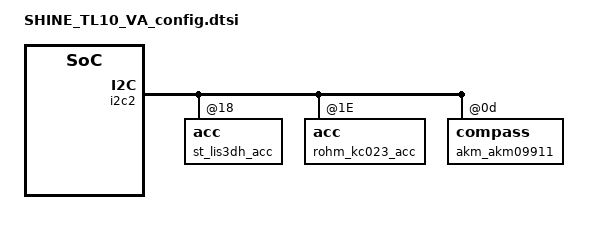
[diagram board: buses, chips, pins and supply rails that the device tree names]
/*
 *  Copyright (C) 2014 Hisilicon Ltd.
 *  Author: Bintian Wang <bintian.wang@huawei.com>
 *
 *  This program is free software; you can redistribute it and/or modify
 *  it under the terms of the GNU General Public License version 2 as
 *  publishhed by the Free Software Foundation.
 */

/include/ "fastboot.dtsi"
/include/ "SHINE_UL10_VA_config.dtsi"
/include/ "SHINE_TL10_VA_pin.dtsi"
/include/ "SHINE_TL10_VA_gpio_logic.dtsi"
/include/ "SHINE_TL10_VA_pmic.dtsi"
/include/ "SHINE_TL10_VA_charger.dtsi"
/ {
    hisi,boardid = <0 7 0 5>;
    hisi,boardname = "SHINE_TL10_VA";
    hisi,modem_id = <0x3DD51D00>;
    hisi,product_name = "CHM_TL00";

    boardinfo{
        factory_product_name = "HL1CHMTLMAA";
        normal_product_name = "CHM-TL00H";
    };
	amba {
	i2c2: i2c@f7102000 {
			st_lis3dh_acc:acc@18{
				axis_map_x=<0>;
				axis_map_y=<1>;
				axis_map_z=<2>;
				negate_x=<1>;
				negate_y=<1>;
				negate_z=<0>;
				status = "ok";
			};
			rohm_kc023_acc:acc@1E{
				axis_map_x=<0>;
				axis_map_y=<1>;
				axis_map_z=<2>;
				negate_x=<1>;
				negate_y=<1>;
				negate_z=<0>;
				status = "ok";
			};
			akm_akm09911:compass@0d{
				compass_layout=<4>;
				status = "ok";
            };
		};
	};
	hi1101-power {
	    wifi_sdio_rw = "SDIO_RW_CHM_TL00_FEM.bin";
	    hisi_cfg_ini_file = "/system/etc/hisi_cfg_cherry.ini";
	};
};
